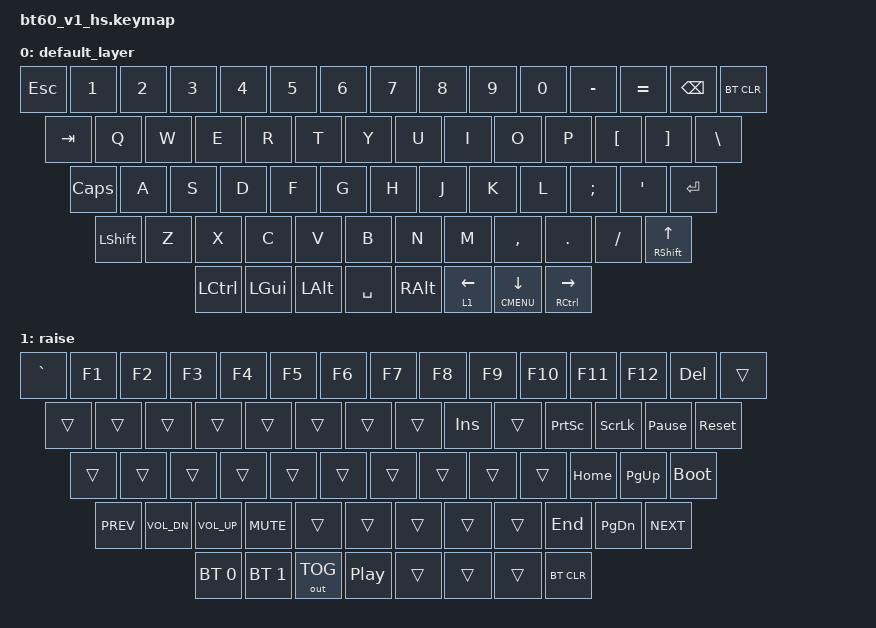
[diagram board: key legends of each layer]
#include <behaviors.dtsi>
#include <dt-bindings/zmk/keys.h>
#include <dt-bindings/zmk/bt.h>
#include <dt-bindings/zmk/outputs.h>

/ {
    keymap {
        compatible = "zmk,keymap";

        default_layer {
                // -----------------------------------------------------------------------------------------
                // | ESC |  1  |  2  |  3  |  4  |  5  |  6  |  7  |  8  |  9  |  0  |  -  |  =  |   BKSP  |
                // | TAB  |  Q  |  W  |  E  |  R  |  T  |  Y  |  U  |  I  |  O  |  P  |  [  |  ]  |   \    |
                // | CAPS  |  A  |  S  |  D  |  F  |  G  |  H  |  J  |  K  |  L  |  ;  |  '  |       ENTER |
                // | SHIFT    |  Z  |  X  |  C  |  V  |  B  |  N  |  M  |  ,  |  .  | /   |     SHIFT/↑    |
                // | CTRL | OPT | LGUI |                SPACE               | ALT | FN/← | MENU/↓ | CTRL/→ |
                // -----------------------------------------------------------------------------------------
            bindings = <
                &kp ESC &kp N1 &kp N2 &kp N3 &kp N4 &kp N5 &kp N6 &kp N7 &kp  N8   &kp  N9 &kp  N0  &kp MINUS &kp EQUAL &kp BSPC &bt BT_CLR
                &kp TAB  &kp Q  &kp W  &kp E  &kp R  &kp T  &kp Y  &kp U  &kp  I    &kp  O  &kp  P   &kp LBKT &kp RBKT  &kp BSLH
                &kp CLCK  &kp A  &kp S  &kp D  &kp F  &kp G  &kp H  &kp J  &kp  K    &kp  L  &kp SEMI &kp SQT           &kp RET
                &kp LSHFT  &kp Z  &kp X  &kp C  &kp V  &kp B  &kp N  &kp M  &kp COMMA &kp DOT &kp FSLH             &mt RSHFT UP
                &kp LCTRL &kp LGUI &kp LALT            &kp SPACE                          &kp RALT  &lt 1 LEFT &mt K_CMENU DOWN &mt RCTRL RIGHT
            >;
        };
        raise {
                // -----------------------------------------------------------------------------------------
                // |  `  | F1  | F2  | F3  | F4  | F5  | F6  | F7  | F8  | F9  | F0  | F11 | F12 |   DEL   |
                // |      |     |     |     |     |     |     |     | Ins |    | PrSc |    | Pause | RESET |
                // |       |     |     |     |     |     |     |     |     |     | Home | PGUP |  BTLoader |
                // | PrevTrck | Vo- | Vo+ | Mute |     |     |     |     |     | End | PGDN |     NextTrck |
                // | BT 0 | BT 1 | TOG |             Play/Pause             |     |      |       | BT  CLR |
                // -----------------------------------------------------------------------------------------
            bindings = <
                &kp GRAVE &kp F1 &kp F2 &kp F3 &kp F4 &kp F5 &kp F6 &kp F7 &kp  F8   &kp  F9 &kp  F10  &kp F11 &kp F12   &kp DEL &trans
                &trans &trans &trans &trans &trans &trans &trans &trans &kp INS &trans &kp PSCRN &kp SLCK &kp PAUSE_BREAK &sys_reset
                &trans    &trans &trans &trans &trans &trans &trans &trans &trans &trans &kp HOME  &kp PG_UP   &bootloader
                &kp C_PREV &kp C_VOL_DN &kp C_VOL_UP &kp C_MUTE &trans &trans &trans &trans &trans &kp END &kp PG_DN  &kp C_NEXT
                &bt BT_SEL 0 &bt BT_SEL 1 &out OUT_TOG              &kp C_PP         &trans   &trans   &trans &bt BT_CLR
            >;
        };
    };
};
